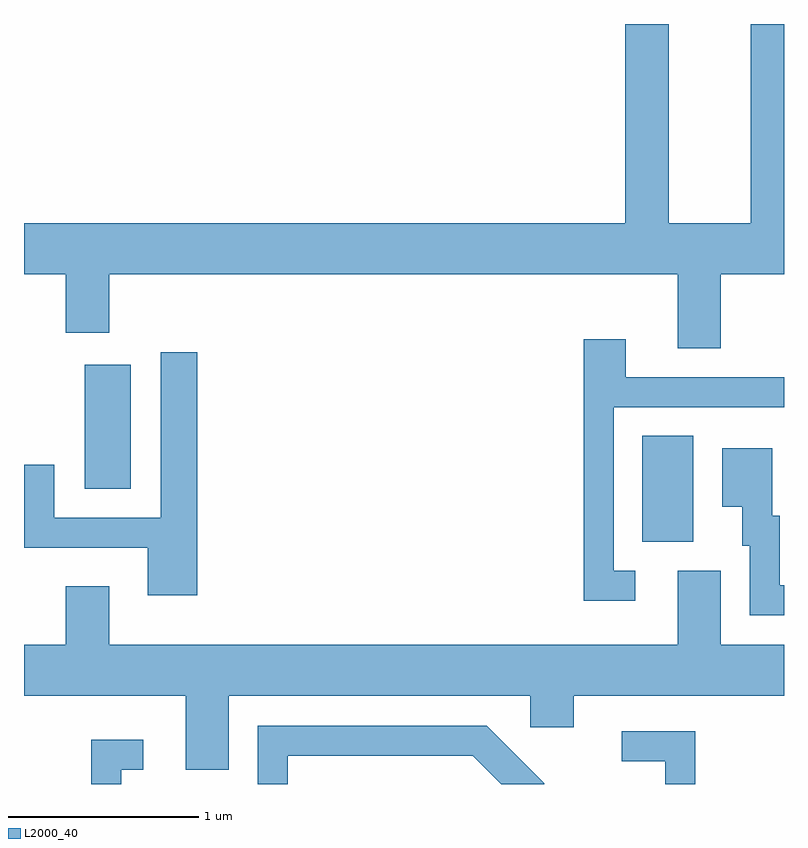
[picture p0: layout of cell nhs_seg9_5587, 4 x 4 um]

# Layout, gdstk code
import gdstk
lib = gdstk.Library(unit=1e-6, precision=1e-09)
def R(c, l, rs):  # rectangles x0, y0, x1, y1
    for r in rs: c.add(gdstk.rectangle(r[:2], r[2:], *l))
def P(c, l, *ps):  # polygons
    for p in ps: c.add(gdstk.Polygon(p, *l))
L2000_40 = (2000, 40)

nhs_seg9_5587 = lib.new_cell('nhs_seg9_5587')
R(nhs_seg9_5587, L2000_40, [(352.866,2023.706,353.134,2024.264), (349.931,2023.986,350.174,2024.639)])
P(nhs_seg9_5587, L2000_40, [(353.279,2025.116),(353.611,2025.116),(353.611,2026.432),(353.436,2026.432),(353.436,2025.384),(353.004,2025.384),(353.004,2026.432),(352.776,2026.432),(352.776,2025.384),(349.611,2025.384),(349.611,2025.116),(349.831,2025.116),(349.831,2024.806),(350.059,2024.806),(350.059,2025.116),(353.051,2025.116),(353.051,2024.726),(353.279,2024.726)],
  [(352.828,2023.554),(352.714,2023.554),(352.714,2024.416),(353.611,2024.416),(353.611,2024.574),(352.779,2024.574),(352.779,2024.774),(352.556,2024.774),(352.556,2023.396),(352.828,2023.396)],
  [(350.524,2024.704),(350.331,2024.704),(350.331,2023.834),(349.769,2023.834),(349.769,2024.113),(349.611,2024.113),(349.611,2023.676),(350.261,2023.676),(350.261,2023.426),(350.524,2023.426)],
  [(353.611,2023.479),(353.589,2023.479),(353.589,2023.844),(353.549,2023.844),(353.549,2024.199),(353.286,2024.199),(353.286,2023.891),(353.391,2023.891),(353.391,2023.686),(353.431,2023.686),(353.431,2023.321),(353.611,2023.321)],
  [(350.689,2022.896),(352.276,2022.896),(352.276,2022.731),(352.504,2022.731),(352.504,2022.896),(353.611,2022.896),(353.611,2023.164),(353.279,2023.164),(353.279,2023.554),(353.051,2023.554),(353.051,2023.164),(350.059,2023.164),(350.059,2023.474),(349.831,2023.474),(349.831,2023.164),(349.611,2023.164),(349.611,2022.896),(350.461,2022.896),(350.461,2022.506),(350.689,2022.506)],
  [(350.999,2022.581),(351.974,2022.581),(352.123,2022.432),(352.349,2022.432),(352.349,2022.437),(352.047,2022.739),(350.841,2022.739),(350.841,2022.432),(350.999,2022.432)],
  [(353.144,2022.709),(352.758,2022.709),(352.758,2022.551),(352.986,2022.551),(352.986,2022.432),(353.144,2022.432)],
  [(350.124,2022.506),(350.238,2022.506),(350.238,2022.664),(349.966,2022.664),(349.966,2022.432),(350.124,2022.432)])

lib.write_gds('nhs_seg9_5587.gds')
